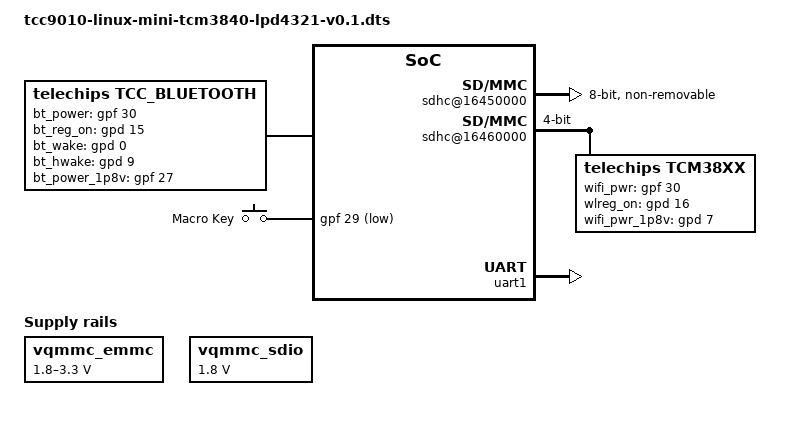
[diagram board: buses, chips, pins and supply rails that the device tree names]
/*
 * Device tree for Telechips TCC9010 MINI board
 *
 * Copyright (C) 2018 Telechips Inc. - http://www.telechips.com
 *
 * This file is dual-licensed: you can use it either under the terms
 * of the GPL or the X11 license, at your option. Note that this dual
 * licensing only applies to this file, and not this project as a
 * whole.
 *
 *  a) This file is free software; you can redistribute it and/or
 *     modify it under the terms of the GNU General Public License as
 *     published by the Free Software Foundation; either version 2 of the
 *     License, or (at your option) any later version.
 *
 *     This file is distributed in the hope that it will be useful,
 *     but WITHOUT ANY WARRANTY; without even the implied warranty of
 *     MERCHANTABILITY or FITNESS FOR A PARTICULAR PURPOSE.  See the
 *     GNU General Public License for more details.
 *
 * Or, alternatively,
 *
 *  b) Permission is hereby granted, free of charge, to any person
 *     obtaining a copy of this software and associated documentation
 *     files (the "Software"), to deal in the Software without
 *     restriction, including without limitation the rights to use,
 *     copy, modify, merge, publish, distribute, sublicense, and/or
 *     sell copies of the Software, and to permit persons to whom the
 *     Software is furnished to do so, subject to the following
 *     conditions:
 *
 *     The above copyright notice and this permission notice shall be
 *     included in all copies or substantial portions of the Software.
 *
 *     THE SOFTWARE IS PROVIDED "AS IS", WITHOUT WARRANTY OF ANY KIND,
 *     EXPRESS OR IMPLIED, INCLUDING BUT NOT LIMITED TO THE WARRANTIES
 *     OF MERCHANTABILITY, FITNESS FOR A PARTICULAR PURPOSE AND
 *     NONINFRINGEMENT. IN NO EVENT SHALL THE AUTHORS OR COPYRIGHT
 *     HOLDERS BE LIABLE FOR ANY CLAIM, DAMAGES OR OTHER LIABILITY,
 *     WHETHER IN AN ACTION OF CONTRACT, TORT OR OTHERWISE, ARISING
 *     FROM, OUT OF OR IN CONNECTION WITH THE SOFTWARE OR THE USE OR
 *     OTHER DEALINGS IN THE SOFTWARE.
 */

/dts-v1/;

#include "tcc9010-linux-mini.dtsi"

/ {
	/* Describe here after remove this statement if you have something to be override. */
	/* CPU Power Control */
	cpu0-regulators {
		gpios = <&gpf 5 0x4>;
	};

	/* eMMC */
	vqmmc_emmc: vqmmc_emmc {
		compatible = "regulator-gpio";

		regulator-name = "vqmmc_emmc";
		regulator-min-microvolt = <1800000>;
		regulator-max-microvolt = <3300000>;
		regulator-type = "voltage";
		regulator-ramp-delay = <10>;
		regulator-always-on;

		gpios = <&gpa 4 0x4>;
		gpios-states = <0>;
		states = <1800000 0x0
			3300000 0x1>;
	};

	sdhc@16450000 {
		status = "okay";
		bus-width = <8>;
		max-frequency = <200000000>;
		pinctrl-names = "default";
		pinctrl-0 = <&sd1_1_clk &sd1_1_cmd &sd1_1_bus8>;

		non-removable;
		keep-power-in-suspend;
		disable-wp;
		cap-mmc-hw-reset;
		mmc-ddr-1_8v;

		tcc-mmc-reset = <&gpa 6 0>;

		vqmmc-supply = <&vqmmc_emmc>;
	};

	/* SDIO */
	vqmmc_sdio: vqmmc_sdio {
		compatible = "regulator-fixed";
		regulator-name = "vqmmc_sdio";
		regulator-min-microvolt = <1800000>;
		regulator-max-microvolt = <1800000>;
		regulator-always-on;
	};

	sdhc@16460000 {
		status = "okay";
		bus-width = <4>;
		max-frequency = <2000000000>;
		pinctrl-names = "default";
		pinctrl-0 = <&sd2_1_clk &sd2_1_cmd &sd2_1_bus4>;

		keep-power-in-suspend;
		cap-sdio-irq;

		vqmmc-supply = <&vqmmc_sdio>;

		cd-force-presence-change;

		tcm38xx {
			compatible = "telechips,tcm38xx";
			wifi_pwr-gpio = <&gpf 30 0>; /* BT_WIFI_VBAT_EN */
			wlreg_on-gpio = <&gpd 16 0>; /* WIFI_REG_ON */
			wifi_pwr_1p8v-gpio = <&gpd 7 0>;
			//wifi_pwr_3p3v-gpio = <&gpsd1 7 0>;
		};
	};


	/* USB 3.0 DRD */
	dwc3_phy@11D90000{
		status = "disable";
	};
	dwc3_platform {
		status = "disable";
		//usb3en-ctrl-able;
		//usb3en-gpio = <&gpc 22 0>;
		//vbus-source-ctrl;
		//vbus-ctrl-able;
		//vbus-gpio = <&gpd 19 0>;
		//pinctrl-names = "default";
		//vdd_dwc-supply = <&vdd_v5p0_reg>;
	};

	/* USB 2.0 HOST */
	ehci_phy@11DA0010{
		status = "disable";
		//vbus-ctrl-able;
		//vbus-gpio = <&gpd 15 0>;
	};

	tcc_bluetooth {
		compatible = "telechips, tcc_bluetooth";
		bt_power-gpio = <&gpf 30 0>; /* BTWIFI_VBAT_EN */
		bt_reg_on-gpio = <&gpd 15 0>;
		bt_wake-gpio = <&gpd 0 0>;
		bt_hwake-gpio = <&gpd 9 0>;
		bt_power_1p8v-gpio = <&gpf 27 0>;
		//bt_power_3p3v-gpio = <&gpsd1 7 0>;
		status = "okay";
	};

	gpio_keys {
		compatible = "gpio-keys";
		#address-cells = <1>;
		#size-cells = <0>;
		autorepeat;
		button@0 {
			label = "Macro Key";
			linux,code = <112>;
			gpios = <&gpf 29 1>;
		};
	};
};

/* bluetooth */
&uart1 {
	pinctrl-names = "default";
	pinctrl-0 = <&uart4_data &uart4_rtscts>;
	dmas = <&udma1 2 2 &udma1 3 2>;
	dma-names = "tx", "rx";
	status = "okay";
};

&gpu {
        operating-points-v2 = <&gpu_opp_table>;
};

&gpu_opp_table {
    opp@444000000 {
	opp-hz = /bits/ 64 <444000000>;
	opp-core-mask = /bits/ 64 <0x3>;
    };
    opp@592000000 {
        opp-hz = /bits/ 64 <592000000>;
        opp-core-mask = /bits/ 64 <0x3>;
    };
    opp@600000000 {
        opp-hz = /bits/ 64 <600000000>;
        opp-core-mask = /bits/ 64 <0x3>;
    };
};
